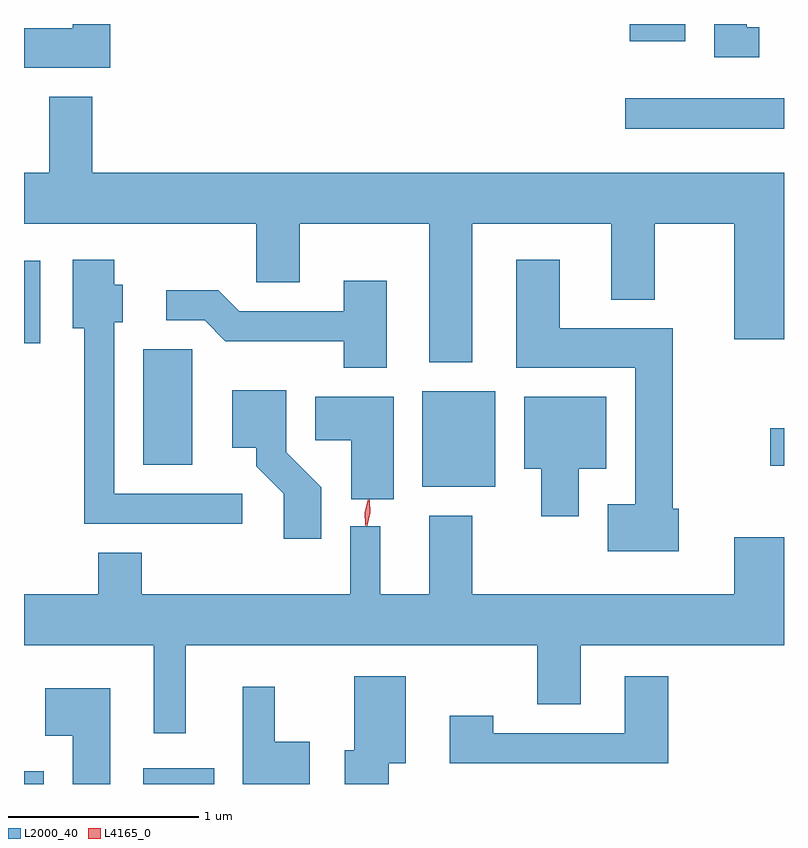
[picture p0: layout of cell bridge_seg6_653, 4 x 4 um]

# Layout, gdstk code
import gdstk
lib = gdstk.Library(unit=1e-6, precision=1e-09)
def R(c, l, rs):  # rectangles x0, y0, x1, y1
    for r in rs: c.add(gdstk.rectangle(r[:2], r[2:], *l))
def P(c, l, *ps):  # polygons
    for p in ps: c.add(gdstk.Polygon(p, *l))
L2000_40 = (2000, 40)
L4165_0 = (4165, 0)

bridge_seg6_653 = lib.new_cell('bridge_seg6_653')
R(bridge_seg6_653, L2000_40, [(211.339,1635.886,211.444,1635.954), (211.966,1635.886,212.339,1635.969), (213.436,1637.451,213.819,1637.954), (215.266,1637.561,215.339,1637.759), (211.966,1637.566,212.224,1638.174), (211.339,1638.206,211.424,1638.639), (214.503,1639.336,215.339,1639.494), (214.526,1639.796,214.819,1639.886)])
P(bridge_seg6_653, L2000_40, [(215.208,1639.869),(215.144,1639.869),(215.144,1639.886),(214.971,1639.886),(214.971,1639.711),(215.208,1639.711)],
  [(211.794,1639.886),(211.596,1639.886),(211.596,1639.864),(211.339,1639.864),(211.339,1639.656),(211.794,1639.656)],
  [(213.699,1638.836),(214.431,1638.836),(214.431,1638.436),(214.659,1638.436),(214.659,1638.836),(215.076,1638.836),(215.076,1638.226),(215.339,1638.226),(215.339,1639.104),(211.699,1639.104),(211.699,1639.504),(211.471,1639.504),(211.471,1639.104),(211.339,1639.104),(211.339,1638.836),(212.561,1638.836),(212.561,1638.526),(212.789,1638.526),(212.789,1638.836),(213.471,1638.836),(213.471,1638.106),(213.699,1638.106)],
  [(214.784,1637.334),(214.754,1637.334),(214.754,1638.284),(214.159,1638.284),(214.159,1638.644),(213.931,1638.644),(213.931,1638.076),(214.556,1638.076),(214.556,1637.359),(214.411,1637.359),(214.411,1637.111),(214.784,1637.111)],
  [(212.488,1637.414),(211.814,1637.414),(211.814,1638.316),(211.859,1638.316),(211.859,1638.514),(211.814,1638.514),(211.814,1638.644),(211.596,1638.644),(211.596,1638.286),(211.656,1638.286),(211.656,1637.256),(212.488,1637.256)],
  [(213.249,1638.534),(213.021,1638.534),(213.021,1638.374),(212.472,1638.374),(212.362,1638.484),(212.088,1638.484),(212.088,1638.326),(212.289,1638.326),(212.399,1638.216),(213.021,1638.216),(213.021,1638.076),(213.249,1638.076)],
  [(212.904,1637.447),(212.719,1637.632),(212.719,1637.959),(212.436,1637.959),(212.436,1637.656),(212.561,1637.656),(212.561,1637.559),(212.706,1637.414),(212.706,1637.176),(212.904,1637.176)],
  [(214.259,1637.546),(214.404,1637.546),(214.404,1637.924),(213.971,1637.924),(213.971,1637.546),(214.061,1637.546),(214.061,1637.296),(214.259,1637.296)],
  [(213.284,1637.924),(212.871,1637.924),(212.871,1637.696),(213.061,1637.696),(213.061,1637.386),(213.284,1637.386)],
  [(212.189,1636.616),(214.041,1636.616),(214.041,1636.306),(214.269,1636.306),(214.269,1636.616),(215.339,1636.616),(215.339,1637.184),(215.076,1637.184),(215.076,1636.884),(213.699,1636.884),(213.699,1637.299),(213.471,1637.299),(213.471,1636.884),(213.214,1636.884),(213.214,1637.243),(213.056,1637.243),(213.056,1636.884),(211.959,1636.884),(211.959,1637.104),(211.731,1637.104),(211.731,1636.884),(211.339,1636.884),(211.339,1636.616),(212.021,1636.616),(212.021,1636.153),(212.189,1636.153)],
  [(213.259,1635.996),(213.349,1635.996),(213.349,1636.454),(213.076,1636.454),(213.076,1636.064),(213.026,1636.064),(213.026,1635.886),(213.259,1635.886)],
  [(214.729,1636.454),(214.501,1636.454),(214.501,1636.154),(213.809,1636.154),(213.809,1636.244),(213.581,1636.244),(213.581,1635.996),(214.729,1635.996)],
  [(212.844,1636.109),(212.659,1636.109),(212.659,1636.398),(212.491,1636.398),(212.491,1635.886),(212.844,1635.886)],
  [(211.794,1636.389),(211.451,1636.389),(211.451,1636.141),(211.596,1636.141),(211.596,1635.886),(211.794,1635.886)])
P(bridge_seg6_653, L4165_0, [(213.144,1637.245),(213.144,1637.245),(213.141,1637.315),(213.157,1637.382),(213.158,1637.383),(213.158,1637.382),(213.161,1637.313),(213.145,1637.245)],
  [(213.136,1637.249),(213.133,1637.316),(213.149,1637.38),(213.15,1637.381),(213.15,1637.38),(213.153,1637.314),(213.137,1637.249),(213.137,1637.249)])

lib.write_gds('bridge_seg6_653.gds')
